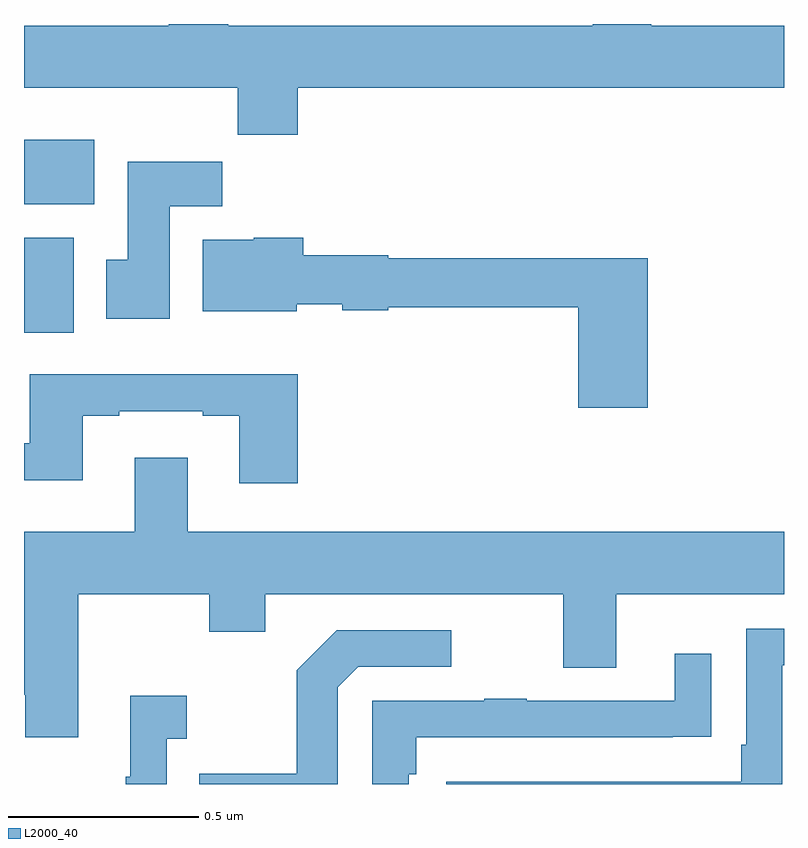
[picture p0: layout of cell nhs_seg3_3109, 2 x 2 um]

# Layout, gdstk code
import gdstk
lib = gdstk.Library(unit=1e-6, precision=1e-09)
def R(c, l, rs):  # rectangles x0, y0, x1, y1
    for r in rs: c.add(gdstk.rectangle(r[:2], r[2:], *l))
def P(c, l, *ps):  # polygons
    for p in ps: c.add(gdstk.Polygon(p, *l))
L2000_40 = (2000, 40)

nhs_seg3_3109 = lib.new_cell('nhs_seg3_3109')
R(nhs_seg3_3109, L2000_40, [(149,717.588,149.131,717.838), (149,717.926,149.185,718.096)])
P(nhs_seg3_3109, L2000_40, [(149.72,718.232),(151,718.232),(151,718.396),(150.65,718.396),(150.65,718.4),(150.497,718.4),(150.497,718.396),(149.537,718.396),(149.537,718.4),(149.381,718.4),(149.381,718.396),(149,718.396),(149,718.232),(149.563,718.232),(149.563,718.108),(149.72,718.108)],
  [(149.383,717.92),(149.522,717.92),(149.522,718.038),(149.273,718.038),(149.273,717.78),(149.216,717.78),(149.216,717.624),(149.383,717.624)],
  [(150.641,717.784),(149.958,717.784),(149.958,717.792),(149.735,717.792),(149.735,717.838),(149.604,717.838),(149.604,717.832),(149.471,717.832),(149.471,717.644),(149.718,717.644),(149.718,717.662),(149.838,717.662),(149.838,717.647),(149.958,717.647),(149.958,717.655),(150.458,717.655),(150.458,717.39),(150.641,717.39)],
  [(149.72,717.478),(149.015,717.478),(149.015,717.297),(149,717.297),(149,717.2),(149.155,717.2),(149.155,717.369),(149.251,717.369),(149.251,717.381),(149.471,717.381),(149.471,717.369),(149.567,717.369),(149.567,717.192),(149.72,717.192)],
  [(149.143,716.9),(149.488,716.9),(149.488,716.801),(149.635,716.801),(149.635,716.9),(150.419,716.9),(150.419,716.706),(150.559,716.706),(150.559,716.9),(151,716.9),(151,717.064),(149.431,717.064),(149.431,717.259),(149.291,717.259),(149.291,717.064),(149,717.064),(149,716.635),(149.003,716.635),(149.003,716.523),(149.143,716.523)],
  [(150.996,716.712),(151,716.712),(151,716.808),(150.9,716.808),(150.9,716.503),(150.887,716.503),(150.887,716.406),(150.111,716.406),(150.111,716.4),(150.996,716.4)],
  [(149.826,716.655),(149.88,716.709),(150.124,716.709),(150.124,716.805),(149.823,716.805),(149.718,716.699),(149.718,716.427),(149.461,716.427),(149.461,716.4),(149.826,716.4)],
  [(150.012,716.426),(150.032,716.426),(150.032,716.523),(150.707,716.523),(150.707,716.524),(150.809,716.524),(150.809,716.743),(150.713,716.743),(150.713,716.619),(150.323,716.619),(150.323,716.624),(150.211,716.624),(150.211,716.619),(149.916,716.619),(149.916,716.4),(150.012,716.4)],
  [(149.376,716.519),(149.428,716.519),(149.428,716.632),(149.279,716.632),(149.279,716.419),(149.268,716.419),(149.268,716.4),(149.376,716.4)])

lib.write_gds('nhs_seg3_3109.gds')
